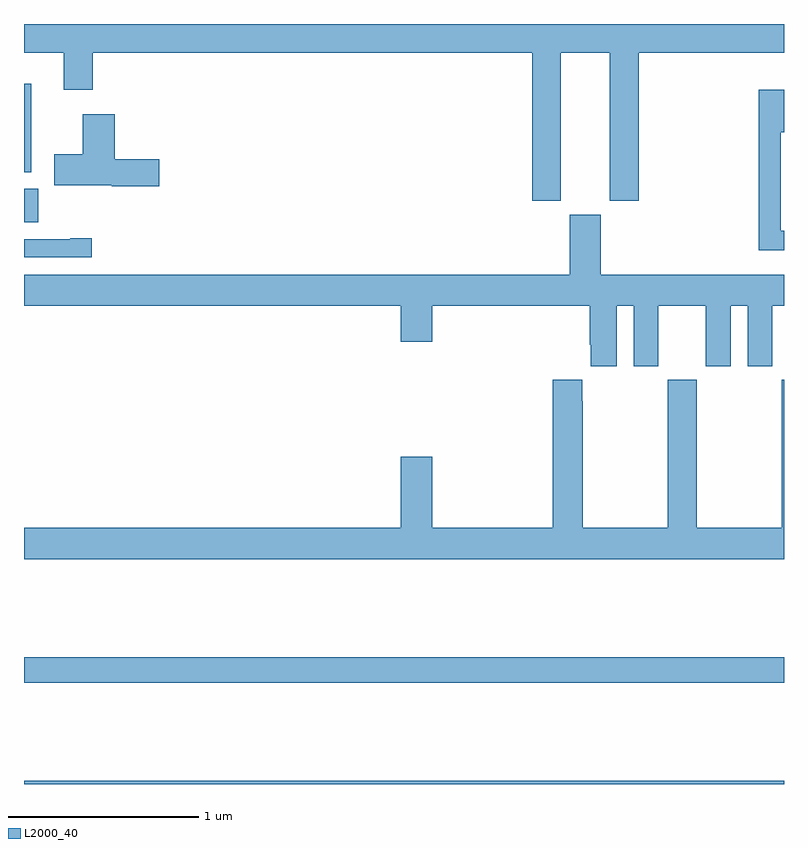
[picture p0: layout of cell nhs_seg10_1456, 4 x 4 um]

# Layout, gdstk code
import gdstk
lib = gdstk.Library(unit=1e-6, precision=1e-09)
def R(c, l, rs):  # rectangles x0, y0, x1, y1
    for r in rs: c.add(gdstk.rectangle(r[:2], r[2:], *l))
def P(c, l, *ps):  # polygons
    for p in ps: c.add(gdstk.Polygon(p, *l))
L2000_40 = (2000, 40)

nhs_seg10_1456 = lib.new_cell('nhs_seg10_1456')
R(nhs_seg10_1456, L2000_40, [(187,1264.5,191,1264.516), (187,1265.032,191,1265.168), (187,1267.457,187.075,1267.633), (187,1267.721,187.039,1268.185)])
P(nhs_seg10_1456, L2000_40, [(187,1268.348),(187.208,1268.348),(187.208,1268.154),(187.361,1268.154),(187.361,1268.348),(189.674,1268.348),(189.674,1267.569),(189.826,1267.569),(189.826,1268.348),(190.082,1268.348),(190.082,1267.569),(190.235,1267.569),(190.235,1268.348),(191,1268.348),(191,1268.5),(187,1268.5)],
  [(191,1267.413),(190.983,1267.413),(190.983,1267.929),(191,1267.929),(191,1268.155),(190.867,1268.155),(190.867,1267.308),(191,1267.308)],
  [(187.711,1267.787),(187.478,1267.787),(187.478,1268.026),(187.31,1268.026),(187.31,1267.815),(187.158,1267.815),(187.158,1267.652),(187.461,1267.652),(187.461,1267.645),(187.711,1267.645)],
  [(190.12,1267.016),(190.208,1267.016),(190.208,1266.699),(190.339,1266.699),(190.339,1267.016),(190.589,1267.016),(190.589,1266.699),(190.72,1266.699),(190.72,1267.016),(190.808,1267.016),(190.808,1266.699),(190.939,1266.699),(190.939,1267.016),(191,1267.016),(191,1267.18),(190.036,1267.18),(190.036,1267.497),(189.872,1267.497),(189.872,1267.18),(187,1267.18),(187,1267.016),(188.984,1267.016),(188.984,1266.828),(189.148,1266.828),(189.148,1267.016),(189.977,1267.016),(189.977,1266.811),(189.983,1266.811),(189.983,1266.699),(190.12,1266.699)],
  [(187.357,1267.373),(187.244,1267.373),(187.244,1267.368),(187,1267.368),(187,1267.272),(187.357,1267.272)],
  [(191,1266.628),(190.987,1266.628),(190.987,1265.848),(190.542,1265.848),(190.542,1266.628),(190.387,1266.628),(190.387,1265.848),(189.942,1265.848),(189.942,1266.515),(189.937,1266.515),(189.937,1266.628),(189.782,1266.628),(189.782,1265.848),(189.148,1265.848),(189.148,1266.223),(188.984,1266.223),(188.984,1265.848),(187,1265.848),(187,1265.684),(191,1265.684)])

lib.write_gds('nhs_seg10_1456.gds')
